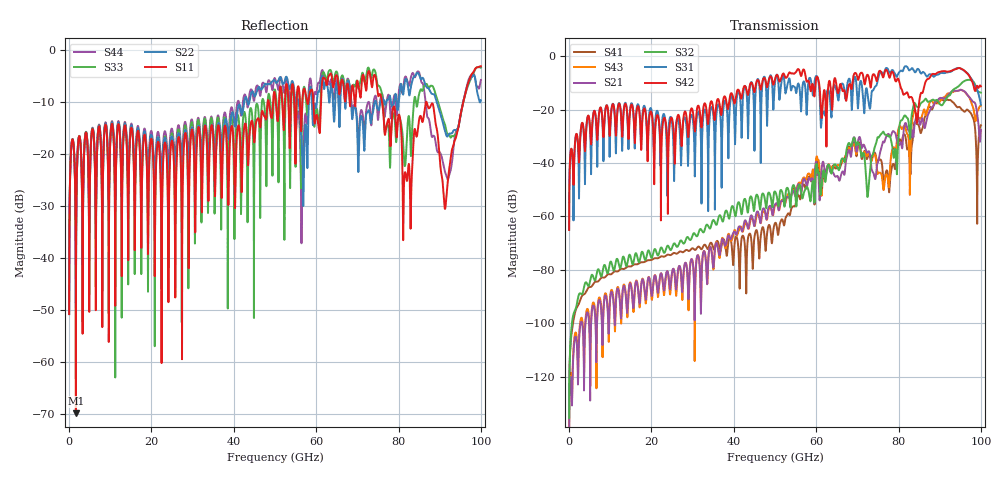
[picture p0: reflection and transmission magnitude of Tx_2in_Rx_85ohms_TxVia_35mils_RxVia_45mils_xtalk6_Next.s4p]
! Info: Touchstone file created by Circ.  Input file=Tx_2in_Rx_85ohms_TxVia_35mils_RxVia_45mils.circ
# Hz S RI R 50
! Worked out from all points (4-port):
!   10000 points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, 10 MHz to 100 GHz, reference 50 ohm
!   strongest paths, dB at 10 MHz, 25.01 GHz, 50.01 GHz, 75.01 GHz, 100 GHz:
!     S42: -65.0, -23.3, -8.5, -7.1, -11.3
!     S31: -65.0, -25.0, -9.8, -8.6, -18.1
!     S32: -135.4, -71.7, -50.6, -30.3, -13.6
!     S21: -144.8, -80.8, -55.5, -39.7, -27.6
!     S43: -143.3, -81.2, -55.8, -43.9, -18.5
!     S41: -135.4, -74.1, -62.5, -39.1, -25.8
!   lowest |S11| = -69.9 dB at 1.65 GHz (marker M1), VSWR 1.00, Z = 50 + j0.00461 ohm
!   |S11| at or under -10 dB: start of sweep to 48.23 GHz; 59.32 GHz to 61.15 GHz (1.833 GHz wide, 3.04 % of centre); 75.97 GHz to 95.74 GHz (19.77 GHz wide, 23 % of centre) (the widest 3 of 13)
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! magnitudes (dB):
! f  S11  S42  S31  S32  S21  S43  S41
! 10 MHz  -50.8  -65.0  -65.0  -135.4  -144.8  -143.3  -135.4
! 1.65 GHz  -69.9  -29.6  -29.7  -94.4  -105.1  -103.5  -94.9
! 42.99 GHz  -14.9  -12.0  -12.3  -54.7  -61.9  -62.4  -87.9
! 69.13 GHz  -8.2  -7.0  -9.0  -30.5  -30.5  -32.7  -31.5
! 72.86 GHz  -4.1  -8.4  -18.4  -46.8  -35.7  -36.7  -37.0
! 91.33 GHz  -30.6  -5.6  -6.2  -16.6  -15.9  -15.1  -16.6
! 100 GHz  -3.2  -11.3  -18.1  -13.6  -27.6  -18.5  -25.8
